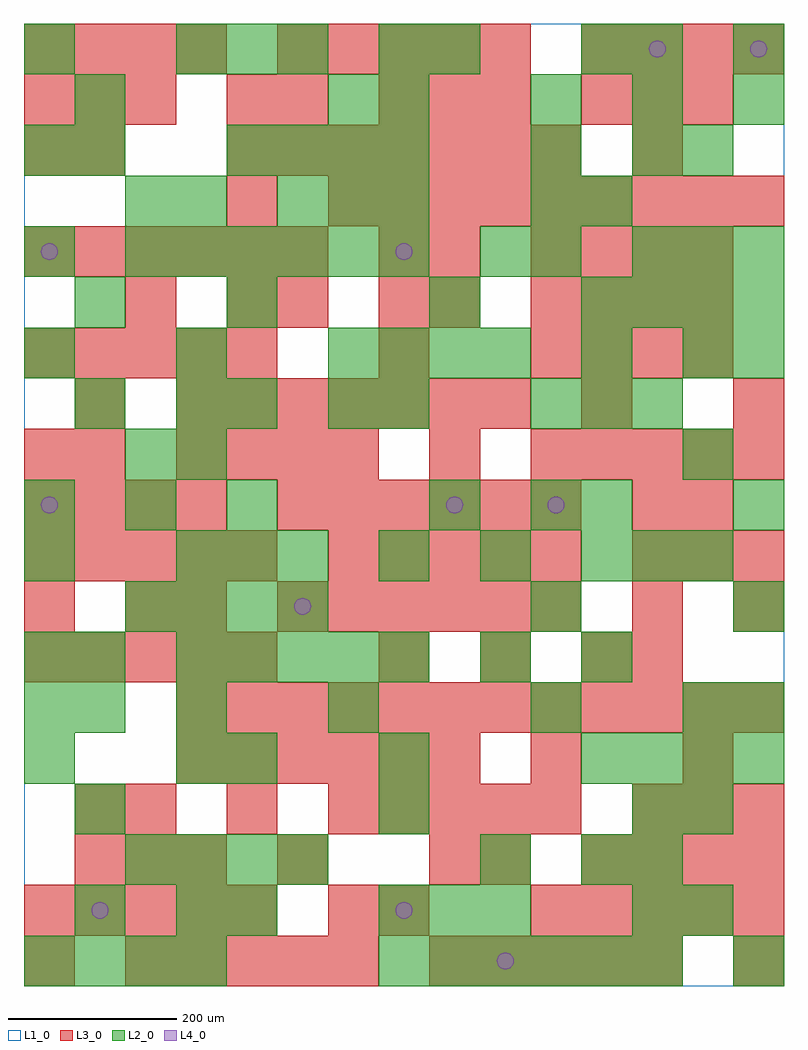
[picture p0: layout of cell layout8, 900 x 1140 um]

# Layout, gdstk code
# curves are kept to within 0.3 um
import gdstk
lib = gdstk.Library(unit=1e-6, precision=1e-09)
def R(c, l, rs):  # rectangles x0, y0, x1, y1
    for r in rs: c.add(gdstk.rectangle(r[:2], r[2:], *l))
def A(c, l, x, y, w, h, nx, ny, dx, dy):  # array of equal rectangles
    R(c, l, [(x+i*dx, y+j*dy, x+i*dx+w, y+j*dy+h) for i in range(nx) for j in range(ny)])
def P(c, l, *ps):  # polygons
    for p in ps: c.add(gdstk.Polygon(p, *l))
L1_0 = (1, 0)
L2_0 = (2, 0)
L3_0 = (3, 0)
L4_0 = (4, 0)

layout8 = lib.new_cell('layout8')
R(layout8, L1_0, [(0,0,900,1140)])
A(layout8, L2_0, 0, 0, 60, 60, 4, 1, 60, 0)
A(layout8, L2_0, 420, 0, 60, 60, 6, 1, 60, 0)
A(layout8, L2_0, 60, 60, 60, 60, 1, 3, 0, 120)
A(layout8, L2_0, 420, 60, 60, 60, 3, 2, 60, 660)
A(layout8, L2_0, 720, 60, 60, 60, 1, 3, 0, 60)
A(layout8, L2_0, 780, 60, 60, 60, 1, 3, 0, 120)
A(layout8, L2_0, 120, 120, 60, 60, 4, 2, 60, 300)
A(layout8, L2_0, 0, 240, 60, 60, 1, 3, 0, 60)
A(layout8, L2_0, 660, 240, 60, 60, 4, 2, 60, 540)
A(layout8, L2_0, 360, 300, 60, 60, 1, 3, 0, 360)
A(layout8, L2_0, 600, 300, 60, 60, 1, 3, 0, 120)
A(layout8, L2_0, 840, 300, 60, 60, 1, 3, 0, 120)
A(layout8, L2_0, 180, 360, 60, 60, 5, 1, 60, 0)
A(layout8, L2_0, 660, 360, 60, 60, 1, 5, 0, 180)
A(layout8, L2_0, 180, 480, 60, 60, 3, 2, 60, 600)
A(layout8, L2_0, 420, 480, 60, 60, 3, 1, 120, 0)
A(layout8, L2_0, 780, 480, 60, 60, 1, 3, 0, 120)
A(layout8, L2_0, 0, 540, 60, 60, 3, 1, 120, 0)
A(layout8, L2_0, 600, 660, 60, 60, 3, 1, 60, 0)
A(layout8, L2_0, 0, 720, 60, 60, 3, 1, 180, 0)
A(layout8, L2_0, 0, 840, 60, 60, 1, 3, 0, 120)
A(layout8, L2_0, 120, 840, 60, 60, 6, 1, 60, 0)
A(layout8, L2_0, 600, 840, 60, 60, 1, 3, 0, 60)
A(layout8, L2_0, 720, 840, 60, 60, 3, 1, 60, 0)
A(layout8, L2_0, 300, 900, 60, 60, 3, 1, 60, 0)
A(layout8, L2_0, 240, 960, 60, 60, 4, 1, 60, 0)
A(layout8, L2_0, 600, 1020, 60, 60, 3, 1, 120, 0)
R(layout8, L2_0, [(840,0,900,60), (180,60,240,120), (240,60,300,120), (540,120,600,180), (660,120,720,180), (420,180,480,240), (180,240,240,300), (240,240,300,300), (420,240,480,300), (180,300,240,360), (60,360,120,420), (540,360,600,420), (0,480,60,540), (720,480,780,540), (480,540,540,600), (120,600,180,660), (180,600,240,660), (60,660,120,720), (180,660,240,720), (240,660,300,720), (420,660,480,720), (840,720,900,780), (60,780,120,840), (240,780,300,840), (480,780,540,840), (540,840,600,900), (120,900,180,960), (180,900,240,960), (60,960,120,1020), (720,960,780,1020), (780,960,840,1020), (60,1020,120,1080), (420,1020,480,1080), (420,1080,480,1140), (480,1080,540,1140), (720,1080,780,1140), (840,1080,900,1140)])
A(layout8, L3_0, 120, 0, 60, 60, 5, 1, 60, 0)
A(layout8, L3_0, 480, 0, 60, 60, 5, 1, 60, 0)
A(layout8, L3_0, 0, 60, 60, 60, 5, 2, 60, 300)
A(layout8, L3_0, 600, 60, 60, 60, 5, 2, 60, 540)
A(layout8, L3_0, 60, 120, 60, 60, 3, 1, 60, 0)
A(layout8, L3_0, 660, 120, 60, 60, 4, 2, 60, 960)
A(layout8, L3_0, 120, 180, 60, 60, 3, 1, 120, 0)
A(layout8, L3_0, 420, 180, 60, 60, 4, 1, 60, 0)
A(layout8, L3_0, 720, 180, 60, 60, 3, 2, 60, 300)
A(layout8, L3_0, 180, 240, 60, 60, 6, 1, 60, 0)
A(layout8, L3_0, 180, 300, 60, 60, 12, 1, 60, 0)
A(layout8, L3_0, 420, 360, 60, 60, 3, 1, 120, 0)
A(layout8, L3_0, 300, 420, 60, 60, 6, 2, 60, 120)
A(layout8, L3_0, 0, 480, 60, 60, 5, 2, 60, 240)
A(layout8, L3_0, 360, 480, 60, 60, 5, 1, 60, 0)
A(layout8, L3_0, 0, 540, 60, 60, 4, 2, 60, 540)
A(layout8, L3_0, 180, 600, 60, 60, 4, 1, 60, 0)
A(layout8, L3_0, 180, 660, 60, 60, 7, 1, 60, 0)
A(layout8, L3_0, 420, 720, 60, 60, 1, 3, 0, 60)
A(layout8, L3_0, 600, 720, 60, 60, 4, 3, 60, 60)
A(layout8, L3_0, 240, 780, 60, 60, 1, 3, 0, 120)
A(layout8, L3_0, 0, 840, 60, 60, 6, 1, 60, 0)
A(layout8, L3_0, 360, 900, 60, 60, 9, 1, 60, 0)
A(layout8, L3_0, 240, 960, 60, 60, 7, 1, 60, 0)
A(layout8, L3_0, 0, 1020, 60, 60, 3, 1, 60, 0)
A(layout8, L3_0, 420, 1020, 60, 60, 3, 1, 60, 0)
A(layout8, L3_0, 660, 1020, 60, 60, 3, 1, 60, 0)
A(layout8, L3_0, 300, 1080, 60, 60, 5, 1, 60, 0)
R(layout8, L3_0, [(0,0,60,60), (840,0,900,60), (360,60,420,120), (420,60,480,120), (300,120,360,180), (480,120,540,180), (540,120,600,180), (60,180,120,240), (600,240,660,300), (780,240,840,300), (720,360,780,420), (0,420,60,480), (120,420,180,480), (180,420,240,480), (720,420,780,480), (840,420,900,480), (720,540,780,600), (780,540,840,600), (0,600,60,660), (60,600,120,660), (480,600,540,660), (60,660,120,720), (660,660,720,720), (840,660,900,720), (120,780,180,840), (300,780,360,840), (480,780,540,840), (480,840,540,900), (0,960,60,1020), (60,960,120,1020), (720,960,780,1020), (300,1020,360,1080)])
P(layout8, L4_0, [(40,570),(39.239,573.827),(37.071,577.071),(33.827,579.239),(30,580),(26.173,579.239),(22.929,577.071),(20.761,573.827),(20,570),(20.761,566.173),(22.929,562.929),(26.173,560.761),(30,560),(33.827,560.761),(37.071,562.929),(39.239,566.173)],
  [(40,870),(39.239,873.827),(37.071,877.071),(33.827,879.239),(30,880),(26.173,879.239),(22.929,877.071),(20.761,873.827),(20,870),(20.761,866.173),(22.929,862.929),(26.173,860.761),(30,860),(33.827,860.761),(37.071,862.929),(39.239,866.173)],
  [(100,90),(99.239,93.827),(97.071,97.071),(93.827,99.239),(90,100),(86.173,99.239),(82.929,97.071),(80.761,93.827),(80,90),(80.761,86.173),(82.929,82.929),(86.173,80.761),(90,80),(93.827,80.761),(97.071,82.929),(99.239,86.173)],
  [(340,450),(339.239,453.827),(337.071,457.071),(333.827,459.239),(330,460),(326.173,459.239),(322.929,457.071),(320.761,453.827),(320,450),(320.761,446.173),(322.929,442.929),(326.173,440.761),(330,440),(333.827,440.761),(337.071,442.929),(339.239,446.173)],
  [(460,90),(459.239,93.827),(457.071,97.071),(453.827,99.239),(450,100),(446.173,99.239),(442.929,97.071),(440.761,93.827),(440,90),(440.761,86.173),(442.929,82.929),(446.173,80.761),(450,80),(453.827,80.761),(457.071,82.929),(459.239,86.173)],
  [(460,870),(459.239,873.827),(457.071,877.071),(453.827,879.239),(450,880),(446.173,879.239),(442.929,877.071),(440.761,873.827),(440,870),(440.761,866.173),(442.929,862.929),(446.173,860.761),(450,860),(453.827,860.761),(457.071,862.929),(459.239,866.173)],
  [(520,570),(519.239,573.827),(517.071,577.071),(513.827,579.239),(510,580),(506.173,579.239),(502.929,577.071),(500.761,573.827),(500,570),(500.761,566.173),(502.929,562.929),(506.173,560.761),(510,560),(513.827,560.761),(517.071,562.929),(519.239,566.173)],
  [(580,30),(579.239,33.827),(577.071,37.071),(573.827,39.239),(570,40),(566.173,39.239),(562.929,37.071),(560.761,33.827),(560,30),(560.761,26.173),(562.929,22.929),(566.173,20.761),(570,20),(573.827,20.761),(577.071,22.929),(579.239,26.173)],
  [(640,570),(639.239,573.827),(637.071,577.071),(633.827,579.239),(630,580),(626.173,579.239),(622.929,577.071),(620.761,573.827),(620,570),(620.761,566.173),(622.929,562.929),(626.173,560.761),(630,560),(633.827,560.761),(637.071,562.929),(639.239,566.173)],
  [(760,1110),(759.239,1113.827),(757.071,1117.071),(753.827,1119.239),(750,1120),(746.173,1119.239),(742.929,1117.071),(740.761,1113.827),(740,1110),(740.761,1106.173),(742.929,1102.929),(746.173,1100.761),(750,1100),(753.827,1100.761),(757.071,1102.929),(759.239,1106.173)],
  [(880,1110),(879.239,1113.827),(877.071,1117.071),(873.827,1119.239),(870,1120),(866.173,1119.239),(862.929,1117.071),(860.761,1113.827),(860,1110),(860.761,1106.173),(862.929,1102.929),(866.173,1100.761),(870,1100),(873.827,1100.761),(877.071,1102.929),(879.239,1106.173)])

lib.write_gds('layout8.gds')
